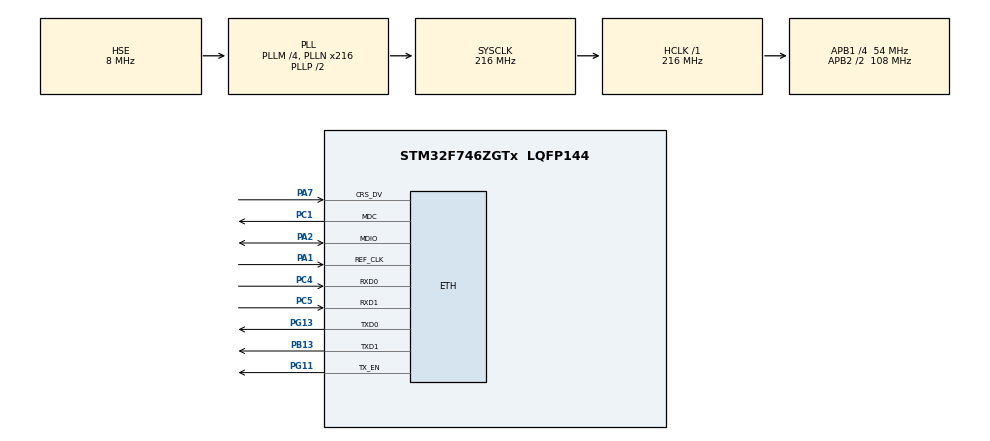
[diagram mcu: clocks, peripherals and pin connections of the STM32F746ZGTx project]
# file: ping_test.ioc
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ETH.MediaInterface=ETH_MEDIA_INTERFACE_RMII
ETH.PhyAddress=0
FREERTOS.Tasks01=defaultTask,24,256,StartDefaultTask,Default,NULL,Dynamic,NULL,NULL
LWIP.GATEWAY_ADDRESS=192.168.001.001
LWIP.IP_ADDRESS=192.168.001.054
LWIP.LWIP_DHCP=0
LWIP.NETMASK_ADDRESS=255.255.255.000
LWIP.Version=v2.1.2_Cube
Mcu.Family=STM32F7
Mcu.Name=STM32F746ZGTx
Mcu.Package=LQFP144
NVIC.ETH_IRQn=true\:5\:0\:false\:false\:true\:true\:false\:true
NVIC.PriorityGroup=NVIC_PRIORITYGROUP_4
PA1.Mode=RMII
PA1.Signal=ETH_REF_CLK
PA13.Mode=Trace_Asynchronous_SW
PA13.Signal=SYS_JTMS-SWDIO
PA14.Mode=Trace_Asynchronous_SW
PA14.Signal=SYS_JTCK-SWCLK
PA2.Mode=RMII
PA2.Signal=ETH_MDIO
PA7.Mode=RMII
PA7.Signal=ETH_CRS_DV
PB13.Mode=RMII
PB13.Signal=ETH_TXD1
PB3.Mode=Trace_Asynchronous_SW
PB3.Signal=SYS_JTDO-SWO
PC1.Mode=RMII
PC1.Signal=ETH_MDC
PC4.Mode=RMII
PC4.Signal=ETH_RXD0
PC5.Mode=RMII
PC5.Signal=ETH_RXD1
PG11.Mode=RMII
PG11.Signal=ETH_TX_EN
PG13.Mode=RMII
PG13.Signal=ETH_TXD0
PH0/OSC_IN.Mode=HSE-External-Clock-Source
PH0/OSC_IN.Signal=RCC_OSC_IN
PH1/OSC_OUT.Mode=HSE-External-Clock-Source
PH1/OSC_OUT.Signal=RCC_OSC_OUT
ProjectManager.HeapSize=0x2000
ProjectManager.StackSize=0x4000
ProjectManager.TargetToolchain=MDK-ARM V5.27
RCC.AHBFreq_Value=216000000
RCC.APB1CLKDivider=RCC_HCLK_DIV4
RCC.APB1Freq_Value=54000000
RCC.APB1TimFreq_Value=108000000
RCC.APB2CLKDivider=RCC_HCLK_DIV2
RCC.APB2Freq_Value=108000000
RCC.APB2TimFreq_Value=216000000
RCC.CortexFreq_Value=216000000
RCC.HCLKFreq_Value=216000000
RCC.HSE_VALUE=8000000
RCC.HSI_VALUE=16000000
RCC.LSE_VALUE=32768
RCC.PLLM=4
RCC.PLLN=216
RCC.PLLSourceVirtual=RCC_PLLSOURCE_HSE
RCC.SYSCLKFreq_VALUE=216000000
RCC.SYSCLKSource=RCC_SYSCLKSOURCE_PLLCLK
RCC.USBFreq_Value=216000000
RCC.VCOOutputFreq_Value=432000000
VP_FREERTOS_VS_CMSIS_V2.Mode=CMSIS_V2
VP_LWIP_VS_Enabled.Mode=Enabled
board=custom

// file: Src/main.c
/* USER CODE BEGIN Header */
/**
  ******************************************************************************
  * @file           : main.c
  * @brief          : Main program body
  ******************************************************************************
  * @attention
  *
  * <h2><center>&copy; Copyright (c) 2020 STMicroelectronics.
  * All rights reserved.</center></h2>
  *
  * This software component is licensed by ST under Ultimate Liberty license
  * SLA0044, the "License"; You may not use this file except in compliance with
  * the License. You may obtain a copy of the License at:
  *                             www.st.com/SLA0044
  *
  ******************************************************************************
  */
/* USER CODE END Header */

#include "main.h"
#include "cmsis_os.h"
#include "lwip.h"

/* USER CODE BEGIN Includes */
#include "api.h"
/* USER CODE END Includes */

/* Definitions for defaultTask */
osThreadId_t defaultTaskHandle;
const osThreadAttr_t defaultTask_attributes = {
  .name = "defaultTask",
  .priority = (osPriority_t) osPriorityNormal,
  .stack_size = 256 * 4
};
/* USER CODE BEGIN PV */
extern struct netif gnetif;
char buffer[1024];
/* USER CODE END PV */

void SystemClock_Config(void);
static void MX_GPIO_Init(void);
void StartDefaultTask(void *argument);

int main(void)
{

  /* MCU Configuration--------------------------------------------------------*/

  /* Reset of all peripherals, Initializes the Flash interface and the Systick. */
  HAL_Init();

  /* Configure the system clock */
  SystemClock_Config();

  /* Initialize all configured peripherals */
  MX_GPIO_Init();

  /* Init scheduler */
  osKernelInitialize();

  /* Create the thread(s) */
  /* creation of defaultTask */
  defaultTaskHandle = osThreadNew(StartDefaultTask, NULL, &defaultTask_attributes);

  /* Start scheduler */
  osKernelStart();

  /* We should never get here as control is now taken by the scheduler */
  /* Infinite loop */
  while (1)
  {

  }
}

void SystemClock_Config(void)
{
  RCC_OscInitTypeDef RCC_OscInitStruct = {0};
  RCC_ClkInitTypeDef RCC_ClkInitStruct = {0};

  /** Configure the main internal regulator output voltage
  */
  __HAL_RCC_PWR_CLK_ENABLE();
  __HAL_PWR_VOLTAGESCALING_CONFIG(PWR_REGULATOR_VOLTAGE_SCALE1);
  /** Initializes the CPU, AHB and APB busses clocks
  */
  RCC_OscInitStruct.OscillatorType = RCC_OSCILLATORTYPE_HSE;
  RCC_OscInitStruct.HSEState = RCC_HSE_BYPASS;
  RCC_OscInitStruct.PLL.PLLState = RCC_PLL_ON;
  RCC_OscInitStruct.PLL.PLLSource = RCC_PLLSOURCE_HSE;
  RCC_OscInitStruct.PLL.PLLM = 4;
  RCC_OscInitStruct.PLL.PLLN = 216;
  RCC_OscInitStruct.PLL.PLLP = RCC_PLLP_DIV2;
  RCC_OscInitStruct.PLL.PLLQ = 2;
  if (HAL_RCC_OscConfig(&RCC_OscInitStruct) != HAL_OK)
  {
    Error_Handler();
  }
  /** Activate the Over-Drive mode
  */
  if (HAL_PWREx_EnableOverDrive() != HAL_OK)
  {
    Error_Handler();
  }
  /** Initializes the CPU, AHB and APB busses clocks
  */
  RCC_ClkInitStruct.ClockType = RCC_CLOCKTYPE_HCLK|RCC_CLOCKTYPE_SYSCLK
                              |RCC_CLOCKTYPE_PCLK1|RCC_CLOCKTYPE_PCLK2;
  RCC_ClkInitStruct.SYSCLKSource = RCC_SYSCLKSOURCE_PLLCLK;
  RCC_ClkInitStruct.AHBCLKDivider = RCC_SYSCLK_DIV1;
  RCC_ClkInitStruct.APB1CLKDivider = RCC_HCLK_DIV4;
  RCC_ClkInitStruct.APB2CLKDivider = RCC_HCLK_DIV2;

  if (HAL_RCC_ClockConfig(&RCC_ClkInitStruct, FLASH_LATENCY_7) != HAL_OK)
  {
    Error_Handler();
  }
}

static void MX_GPIO_Init(void)
{

  /* GPIO Ports Clock Enable */
  __HAL_RCC_GPIOH_CLK_ENABLE();
  __HAL_RCC_GPIOC_CLK_ENABLE();
  __HAL_RCC_GPIOA_CLK_ENABLE();
  __HAL_RCC_GPIOB_CLK_ENABLE();
  __HAL_RCC_GPIOG_CLK_ENABLE();

}

void StartDefaultTask(void *argument)
{
  /* init code for LWIP */
  MX_LWIP_Init();
  /* USER CODE BEGIN 5 */
	ip_addr_t local_ip;
	ip_addr_t remote_ip;
	struct netconn *nc;
	struct netbuf *nb;
	err_t res;
	uint16_t len=0;
	printf("LWIP Init Done!\r\n");
	while(gnetif.ip_addr.addr==0) osDelay(1);
	printf("Assigned IP:%s",ip4addr_ntoa(&gnetif.ip_addr));
	local_ip=gnetif.ip_addr;
	ip4addr_aton("192.168.1.20",&remote_ip);
	nc=netconn_new(NETCONN_TCP);
	if(nc==NULL){
		printf("new Connection Error!\r\n");
		while(1) osDelay(1);
	}
	res=netconn_bind(nc,&local_ip,0);
	if(res!=ERR_OK){
		printf("bind Connection Error!\r\n");
		while(1) osDelay(1);
	}
	res=netconn_connect(nc,&remote_ip,12345);
	if(res!=ERR_OK){
		printf("connect to Connection Error!\r\n");
		while(1) osDelay(1);
	}
	len=sprintf(buffer,"Hello World From Nucleo-F7");
	res=netconn_write(nc,buffer,len,NETCONN_NOCOPY );
	if(res!=ERR_OK){
		printf("Write Error!\r\n");
		while(1) osDelay(1);
	}
	res=netconn_recv(nc,&nb);
	if(res!=ERR_OK){
		printf("Recv Error!\r\n");
		while(1) osDelay(1);
	}
	len=netbuf_len(nb);
	if(len>0){
		netbuf_copy(nb,buffer,len);
		printf("Recieved %d Byte:\r\n%s\r\n",len,buffer);
	}
	netconn_close(nc);
	netconn_delete(nc);
  /* Infinite loop */
  for(;;)
  {
    osDelay(1);
  }
  /* USER CODE END 5 */
}

void Error_Handler(void)
{
}

/************************ (C) COPYRIGHT STMicroelectronics *****END OF FILE****/
